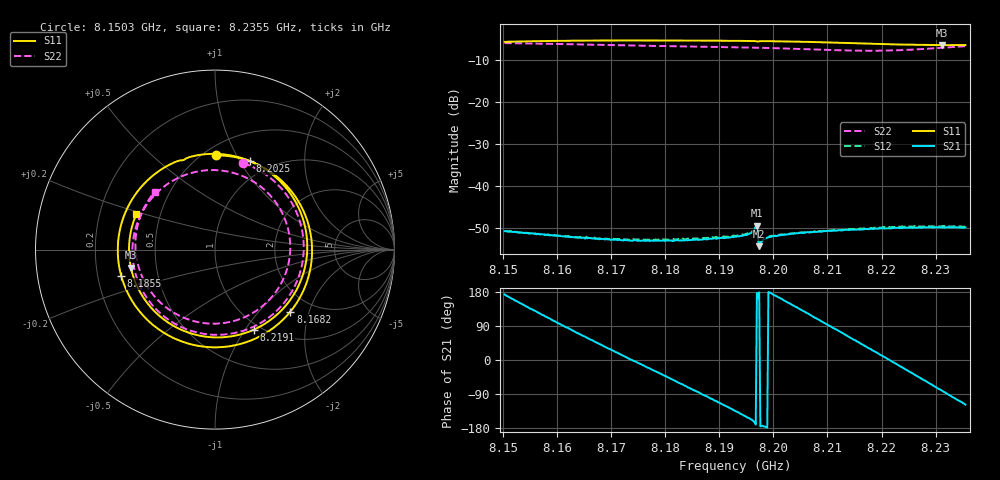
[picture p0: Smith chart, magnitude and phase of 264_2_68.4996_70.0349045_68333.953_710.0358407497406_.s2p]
#  HZ  S  RI  R  50.00
! Rohde & Schwarz Vector Network Analyzer
! Rohde-Schwarz,ZNB20-2Port,1311601062101988,3.16
! Created: UTC 3/20/2024, 5:00:23 PM
! freq[Hz]  re:S11  im:S11  re:S21  im:S21  re:S12  im:S12  re:S22  im:S22
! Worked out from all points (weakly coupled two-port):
!   401 points, 8.1503 GHz to 8.2355 GHz, reference 50 ohm
!   highest |S21| = -49.40 dB at 8.197 GHz (marker M1); lowest = -54.3 dB at 8.1974 GHz (marker M2)
!   lowest |S11| = -6.4 dB at 8.2312 GHz (marker M3), VSWR 2.84, Z = 17.8 - j4.68 ohm
!   |S11| at or under -10 dB: nowhere
!   |S22| runs from -7.7 to -5.9 dB; largest |S21 - S12| = 0.00027
!   S11 on the Smith chart (normalised r, x): 8.1503 GHz: 0.57, +0.83; 8.1682 GHz: 1.55, -1.52; 8.1855 GHz: 0.30, -0.13; 8.2025 GHz: 0.81, +1.11; 8.2191 GHz: 0.93, -1.10; 8.2355 GHz: 0.36, +0.19
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8.150331e9  0.00771 0.5248  -0.0029 0.000366  -0.0029 0.000457  0.1574 0.4818
8.153951e9  0.2444 0.4713  -0.00226 0.00161  -0.00227 0.00165  0.3503 0.3613
8.157784e9  0.4395 0.3069  -0.00112 0.00238  -0.00115 0.00241  0.4719 0.1594
8.161191e9  0.5305 0.0989  -2.33e-05 0.00254  -4.04e-05 0.00257  0.4909 -0.0457
8.164598e9  0.5268 -0.1284  0.00102 0.00221  0.00097 0.00224  0.4261 -0.2374
8.168218e9  0.42 -0.3454  0.00182 0.00151  0.00182 0.00156  0.2814 -0.3914
8.173754e9  0.1036 -0.5346  0.00226 1.87e-05  0.00235 3.39e-05  -0.0217 -0.4738
8.178864e9  -0.2382 -0.4893  0.00186 -0.00127  0.00191 -0.00135  -0.2875 -0.3694
8.185465e9  -0.5221 -0.1474  0.000356 -0.00228  0.000367 -0.00235  -0.4583 -0.0532
8.189085e9  -0.5313 0.103  -0.000695 -0.0023  -0.000721 -0.00234  -0.434 0.1449
8.192918e9  -0.4162 0.343  -0.00176 -0.0018  -0.00186 -0.00179  -0.3184 0.3221
8.196538e9  -0.2105 0.4923  -0.00296 -0.000824  -0.003 -0.000709  -0.1447 0.4233
8.196963e9  -0.18 0.4979  -0.00338 0.000188  -0.00339 0.000295  -0.1214 0.4298
8.197389e9  -0.1604 0.5083  -0.00194 4.97e-05  -0.002 0.000121  -0.0982 0.435
8.2025e9  0.1955 0.4926  -0.00239 0.00121  -0.00234 0.0013  0.1851 0.3953
8.207184e9  0.4421 0.2782  -0.00124 0.00256  -0.00121 0.00259  0.3744 0.204
8.212933e9  0.4963 -0.1183  0.00103 0.00283  0.00111 0.00284  0.3927 -0.1348
8.219108e9  0.2159 -0.4464  0.00296 0.00104  0.00305 0.000945  0.1147 -0.395
8.221451e9  0.0521 -0.4879  0.00317 1.13e-05  0.00326 -0.000101  -0.0389 -0.4118
8.225922e9  -0.2562 -0.4096  0.00258 -0.00193  0.00256 -0.00211  -0.3106 -0.2888
8.231246e9  -0.4682 -0.1015  0.000484 -0.0032  0.000294 -0.00335  -0.4433 0.0468
8.235504e9  -0.4387 0.1959  -0.00151 -0.00287  -0.00171 -0.00282  -0.3363 0.3221
